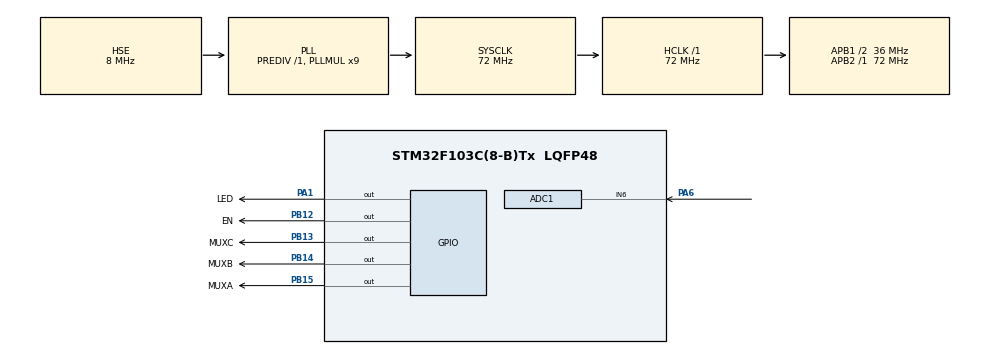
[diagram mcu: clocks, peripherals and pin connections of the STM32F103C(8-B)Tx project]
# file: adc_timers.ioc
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ADC1.Channel-2\#ChannelRegularConversion=ADC_CHANNEL_6
ADC1.ContinuousConvMode=DISABLE
ADC1.NbrOfConversion=1
ADC1.NbrOfConversionFlag=1
ADC1.Rank-2\#ChannelRegularConversion=1
ADC1.SamplingTime-2\#ChannelRegularConversion=ADC_SAMPLETIME_239CYCLES_5
ADC1.master=1
Mcu.Family=STM32F1
Mcu.Name=STM32F103C(8-B)Tx
Mcu.Package=LQFP48
NVIC.ADC1_2_IRQn=true\:0\:0\:false\:false\:true\:true\:true\:true
NVIC.PriorityGroup=NVIC_PRIORITYGROUP_4
NVIC.TIM2_IRQn=true\:0\:0\:false\:false\:true\:true\:true\:true
NVIC.TIM4_IRQn=true\:0\:0\:false\:false\:true\:true\:true\:true
PA1.GPIO_Label=LED
PA1.Signal=GPIO_Output
PA13.Mode=Serial_Wire
PA13.Signal=SYS_JTMS-SWDIO
PA14.Mode=Serial_Wire
PA14.Signal=SYS_JTCK-SWCLK
PA6.Signal=ADCx_IN6
PB12.GPIO_Label=EN
PB12.Signal=GPIO_Output
PB13.GPIO_Label=MUXC
PB13.Signal=GPIO_Output
PB14.GPIO_Label=MUXB
PB14.Signal=GPIO_Output
PB15.GPIO_Label=MUXA
PB15.Signal=GPIO_Output
PD0-OSC_IN.Mode=HSE-External-Oscillator
PD0-OSC_IN.Signal=RCC_OSC_IN
PD1-OSC_OUT.Mode=HSE-External-Oscillator
PD1-OSC_OUT.Signal=RCC_OSC_OUT
ProjectManager.HeapSize=0x200
ProjectManager.StackSize=0x400
ProjectManager.TargetToolchain=STM32CubeIDE
RCC.ADCPresc=RCC_ADCPCLK2_DIV6
RCC.AHBFreq_Value=72000000
RCC.APB1CLKDivider=RCC_HCLK_DIV2
RCC.APB1Freq_Value=36000000
RCC.APB1TimFreq_Value=72000000
RCC.APB2Freq_Value=72000000
RCC.APB2TimFreq_Value=72000000
RCC.HCLKFreq_Value=72000000
RCC.PLLMUL=RCC_PLL_MUL9
RCC.PLLSourceVirtual=RCC_PLLSOURCE_HSE
RCC.SYSCLKFreq_VALUE=72000000
RCC.SYSCLKSource=RCC_SYSCLKSOURCE_PLLCLK
RCC.USBFreq_Value=72000000
SH.ADCx_IN6.0=ADC1_IN6,IN6
TIM2.Period=2000
TIM2.Prescaler=7200-1
TIM2.TIM_MasterOutputTrigger=TIM_TRGO_RESET
TIM4.Period=1000
TIM4.Prescaler=7200 -1
TIM4.TIM_MasterOutputTrigger=TIM_TRGO_RESET
VP_TIM2_VS_ClockSourceINT.Mode=Internal
VP_TIM4_VS_ClockSourceINT.Mode=Internal
board=custom

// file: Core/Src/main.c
/* USER CODE BEGIN Header */
/**
  ******************************************************************************
  * @file           : main.c
  * @brief          : Main program body
  ******************************************************************************
  * @attention
  *
  * Copyright (c) 2023 STMicroelectronics.
  * All rights reserved.
  *
  * This software is licensed under terms that can be found in the LICENSE file
  * in the root directory of this software component.
  * If no LICENSE file comes with this software, it is provided AS-IS.
  *
  ******************************************************************************
  */
/* USER CODE END Header */
#include "main.h"

ADC_HandleTypeDef hadc1;

TIM_HandleTypeDef htim2;
TIM_HandleTypeDef htim4;

/* USER CODE BEGIN PV */
uint16_t adc_val[8];
uint32_t adc_val1;
int position=0;
int ready = 0;
int canal;
/* USER CODE END PV */

void SystemClock_Config(void);
static void MX_GPIO_Init(void);
static void MX_ADC1_Init(void);
static void MX_TIM2_Init(void);
static void MX_TIM4_Init(void);
/* USER CODE BEGIN PFP */
void MUX_SelectChannel(int );
/* USER CODE END PFP */

/* USER CODE BEGIN 0 */

	void MUX_SelectChannel(canal){

	switch (canal){
	case 0:
		        HAL_GPIO_WritePin(MUXA_GPIO_Port, MUXA_Pin, GPIO_PIN_RESET);
			 	HAL_GPIO_WritePin(MUXB_GPIO_Port, MUXB_Pin, GPIO_PIN_RESET);
			 	HAL_GPIO_WritePin(MUXC_GPIO_Port, MUXC_Pin, GPIO_PIN_RESET);//CH0
				 break;
	case 1:
		 HAL_GPIO_WritePin(MUXA_GPIO_Port, MUXA_Pin, GPIO_PIN_SET);
					 	HAL_GPIO_WritePin(MUXB_GPIO_Port, MUXB_Pin, GPIO_PIN_RESET);
					 	HAL_GPIO_WritePin(MUXC_GPIO_Port, MUXC_Pin, GPIO_PIN_RESET);//CH1
				 break;
	case 2:
		 HAL_GPIO_WritePin(MUXA_GPIO_Port, MUXA_Pin, GPIO_PIN_RESET);
					 	HAL_GPIO_WritePin(MUXB_GPIO_Port, MUXB_Pin, GPIO_PIN_SET);
					 	HAL_GPIO_WritePin(MUXC_GPIO_Port, MUXC_Pin, GPIO_PIN_RESET);//CH2
				 break;
	case 3:
		 HAL_GPIO_WritePin(MUXA_GPIO_Port, MUXA_Pin, GPIO_PIN_SET);
					 	HAL_GPIO_WritePin(MUXB_GPIO_Port, MUXB_Pin, GPIO_PIN_SET);
					 	HAL_GPIO_WritePin(MUXC_GPIO_Port, MUXC_Pin, GPIO_PIN_RESET);//CH3
				 break;
	case 4:
		 HAL_GPIO_WritePin(MUXA_GPIO_Port, MUXA_Pin, GPIO_PIN_RESET);
					 	HAL_GPIO_WritePin(MUXB_GPIO_Port, MUXB_Pin, GPIO_PIN_RESET);
					 	HAL_GPIO_WritePin(MUXC_GPIO_Port, MUXC_Pin, GPIO_PIN_SET);//CH4
				 break;
	case 5:
		 HAL_GPIO_WritePin(MUXA_GPIO_Port, MUXA_Pin, GPIO_PIN_SET);
					 	HAL_GPIO_WritePin(MUXB_GPIO_Port, MUXB_Pin, GPIO_PIN_RESET);
					 	HAL_GPIO_WritePin(MUXC_GPIO_Port, MUXC_Pin, GPIO_PIN_SET);//CH5
				 break;
	case 6:
		 HAL_GPIO_WritePin(MUXA_GPIO_Port, MUXA_Pin, GPIO_PIN_RESET);
					 	HAL_GPIO_WritePin(MUXB_GPIO_Port, MUXB_Pin, GPIO_PIN_SET);
					 	HAL_GPIO_WritePin(MUXC_GPIO_Port, MUXC_Pin, GPIO_PIN_SET);//CH6
				 break;
	case 7:
		 HAL_GPIO_WritePin(MUXA_GPIO_Port, MUXA_Pin, GPIO_PIN_SET);
					 	HAL_GPIO_WritePin(MUXB_GPIO_Port, MUXB_Pin, GPIO_PIN_SET);
					 	HAL_GPIO_WritePin(MUXC_GPIO_Port, MUXC_Pin, GPIO_PIN_SET);//CH7
				 break;

	}
}

/* USER CODE END 0 */

int main(void)
{

  /* MCU Configuration--------------------------------------------------------*/

  /* Reset of all peripherals, Initializes the Flash interface and the Systick. */
  HAL_Init();

  /* Configure the system clock */
  SystemClock_Config();

  /* Initialize all configured peripherals */
  MX_GPIO_Init();
  MX_ADC1_Init();
  MX_TIM2_Init();
  MX_TIM4_Init();
  /* USER CODE BEGIN 2 */

  HAL_TIM_Base_Start_IT(&htim4);
   HAL_TIM_Base_Start_IT(&htim2);
  /* USER CODE END 2 */

  /* Infinite loop */
  while (1)
  {

  }
}

void SystemClock_Config(void)
{
  RCC_OscInitTypeDef RCC_OscInitStruct = {0};
  RCC_ClkInitTypeDef RCC_ClkInitStruct = {0};
  RCC_PeriphCLKInitTypeDef PeriphClkInit = {0};

  /** Initializes the RCC Oscillators according to the specified parameters
  * in the RCC_OscInitTypeDef structure.
  */
  RCC_OscInitStruct.OscillatorType = RCC_OSCILLATORTYPE_HSE;
  RCC_OscInitStruct.HSEState = RCC_HSE_ON;
  RCC_OscInitStruct.HSEPredivValue = RCC_HSE_PREDIV_DIV1;
  RCC_OscInitStruct.HSIState = RCC_HSI_ON;
  RCC_OscInitStruct.PLL.PLLState = RCC_PLL_ON;
  RCC_OscInitStruct.PLL.PLLSource = RCC_PLLSOURCE_HSE;
  RCC_OscInitStruct.PLL.PLLMUL = RCC_PLL_MUL9;
  if (HAL_RCC_OscConfig(&RCC_OscInitStruct) != HAL_OK)
  {
    Error_Handler();
  }

  /** Initializes the CPU, AHB and APB buses clocks
  */
  RCC_ClkInitStruct.ClockType = RCC_CLOCKTYPE_HCLK|RCC_CLOCKTYPE_SYSCLK
                              |RCC_CLOCKTYPE_PCLK1|RCC_CLOCKTYPE_PCLK2;
  RCC_ClkInitStruct.SYSCLKSource = RCC_SYSCLKSOURCE_PLLCLK;
  RCC_ClkInitStruct.AHBCLKDivider = RCC_SYSCLK_DIV1;
  RCC_ClkInitStruct.APB1CLKDivider = RCC_HCLK_DIV2;
  RCC_ClkInitStruct.APB2CLKDivider = RCC_HCLK_DIV1;

  if (HAL_RCC_ClockConfig(&RCC_ClkInitStruct, FLASH_LATENCY_2) != HAL_OK)
  {
    Error_Handler();
  }
  PeriphClkInit.PeriphClockSelection = RCC_PERIPHCLK_ADC;
  PeriphClkInit.AdcClockSelection = RCC_ADCPCLK2_DIV6;
  if (HAL_RCCEx_PeriphCLKConfig(&PeriphClkInit) != HAL_OK)
  {
    Error_Handler();
  }
}

static void MX_ADC1_Init(void)
{

  ADC_ChannelConfTypeDef sConfig = {0};

  /** Common config
  */
  hadc1.Instance = ADC1;
  hadc1.Init.ScanConvMode = ADC_SCAN_DISABLE;
  hadc1.Init.ContinuousConvMode = DISABLE;
  hadc1.Init.DiscontinuousConvMode = DISABLE;
  hadc1.Init.ExternalTrigConv = ADC_SOFTWARE_START;
  hadc1.Init.DataAlign = ADC_DATAALIGN_RIGHT;
  hadc1.Init.NbrOfConversion = 1;
  if (HAL_ADC_Init(&hadc1) != HAL_OK)
  {
    Error_Handler();
  }

  /** Configure Regular Channel
  */
  sConfig.Channel = ADC_CHANNEL_6;
  sConfig.Rank = ADC_REGULAR_RANK_1;
  sConfig.SamplingTime = ADC_SAMPLETIME_239CYCLES_5;
  if (HAL_ADC_ConfigChannel(&hadc1, &sConfig) != HAL_OK)
  {
    Error_Handler();
  }

}

static void MX_TIM2_Init(void)
{

  TIM_ClockConfigTypeDef sClockSourceConfig = {0};
  TIM_MasterConfigTypeDef sMasterConfig = {0};

  htim2.Instance = TIM2;
  htim2.Init.Prescaler = 7200-1;
  htim2.Init.CounterMode = TIM_COUNTERMODE_UP;
  htim2.Init.Period = 2000;
  htim2.Init.ClockDivision = TIM_CLOCKDIVISION_DIV1;
  htim2.Init.AutoReloadPreload = TIM_AUTORELOAD_PRELOAD_DISABLE;
  if (HAL_TIM_Base_Init(&htim2) != HAL_OK)
  {
    Error_Handler();
  }
  sClockSourceConfig.ClockSource = TIM_CLOCKSOURCE_INTERNAL;
  if (HAL_TIM_ConfigClockSource(&htim2, &sClockSourceConfig) != HAL_OK)
  {
    Error_Handler();
  }
  sMasterConfig.MasterOutputTrigger = TIM_TRGO_RESET;
  sMasterConfig.MasterSlaveMode = TIM_MASTERSLAVEMODE_DISABLE;
  if (HAL_TIMEx_MasterConfigSynchronization(&htim2, &sMasterConfig) != HAL_OK)
  {
    Error_Handler();
  }

}

static void MX_TIM4_Init(void)
{

  TIM_ClockConfigTypeDef sClockSourceConfig = {0};
  TIM_MasterConfigTypeDef sMasterConfig = {0};

  htim4.Instance = TIM4;
  htim4.Init.Prescaler = 7200 -1;
  htim4.Init.CounterMode = TIM_COUNTERMODE_UP;
  htim4.Init.Period = 1000;
  htim4.Init.ClockDivision = TIM_CLOCKDIVISION_DIV1;
  htim4.Init.AutoReloadPreload = TIM_AUTORELOAD_PRELOAD_DISABLE;
  if (HAL_TIM_Base_Init(&htim4) != HAL_OK)
  {
    Error_Handler();
  }
  sClockSourceConfig.ClockSource = TIM_CLOCKSOURCE_INTERNAL;
  if (HAL_TIM_ConfigClockSource(&htim4, &sClockSourceConfig) != HAL_OK)
  {
    Error_Handler();
  }
  sMasterConfig.MasterOutputTrigger = TIM_TRGO_RESET;
  sMasterConfig.MasterSlaveMode = TIM_MASTERSLAVEMODE_DISABLE;
  if (HAL_TIMEx_MasterConfigSynchronization(&htim4, &sMasterConfig) != HAL_OK)
  {
    Error_Handler();
  }

}

static void MX_GPIO_Init(void)
{
  GPIO_InitTypeDef GPIO_InitStruct = {0};

  /* GPIO Ports Clock Enable */
  __HAL_RCC_GPIOD_CLK_ENABLE();
  __HAL_RCC_GPIOA_CLK_ENABLE();
  __HAL_RCC_GPIOB_CLK_ENABLE();

  /*Configure GPIO pin Output Level */
  HAL_GPIO_WritePin(LED_GPIO_Port, LED_Pin, GPIO_PIN_RESET);

  /*Configure GPIO pin Output Level */
  HAL_GPIO_WritePin(GPIOB, EN_Pin|MUXC_Pin|MUXB_Pin|MUXA_Pin, GPIO_PIN_RESET);

  /*Configure GPIO pin : LED_Pin */
  GPIO_InitStruct.Pin = LED_Pin;
  GPIO_InitStruct.Mode = GPIO_MODE_OUTPUT_PP;
  GPIO_InitStruct.Pull = GPIO_NOPULL;
  GPIO_InitStruct.Speed = GPIO_SPEED_FREQ_LOW;
  HAL_GPIO_Init(LED_GPIO_Port, &GPIO_InitStruct);

  /*Configure GPIO pins : EN_Pin MUXC_Pin MUXB_Pin MUXA_Pin */
  GPIO_InitStruct.Pin = EN_Pin|MUXC_Pin|MUXB_Pin|MUXA_Pin;
  GPIO_InitStruct.Mode = GPIO_MODE_OUTPUT_PP;
  GPIO_InitStruct.Pull = GPIO_NOPULL;
  GPIO_InitStruct.Speed = GPIO_SPEED_FREQ_LOW;
  HAL_GPIO_Init(GPIOB, &GPIO_InitStruct);

}

/* USER CODE BEGIN 4 */
void HAL_TIM_PeriodElapsedCallback(TIM_HandleTypeDef *htim) {

	 HAL_GPIO_WritePin(EN_GPIO_Port, EN_Pin, GPIO_PIN_RESET);
	if (htim->Instance == TIM4) {

		 HAL_GPIO_TogglePin(LED_GPIO_Port, LED_Pin);
		 for(int i=0;i<8;i++)
		 {
		MUX_SelectChannel(i);
		 HAL_ADC_Start(&hadc1);
		 HAL_ADC_PollForConversion(&hadc1,HAL_MAX_DELAY);
		adc_val[i]= HAL_ADC_GetValue(&hadc1);
		HAL_ADC_Stop(&hadc1);
		 }/*if (position <10)
		{

			position++;
		}
		else
		{
			position=0;
			ready=1;
		}*/
	}

	if (htim->Instance == TIM2) {

			// if (ready)
				 // {

					/*  for (int i=0; i<5; i++)
					  {
						  //adc_val1[i] = adc_val[i];
					  }
					  ready=0;*/

					  //HAL_GPIO_WritePin(GPIOA, RS_MODE_Pin, GPIO_PIN_SET);
					  //HAL_UART_Transmit(&huart1, &arreglo2, 5, TIME_OUT);
					 //HAL_GPIO_WritePin(GPIOA, RS_MODE_Pin, GPIO_PIN_RESET);

				  //}

    }
}

/* USER CODE END 4 */

void Error_Handler(void)
{
  __disable_irq();
  while (1)
  {
  }
}
